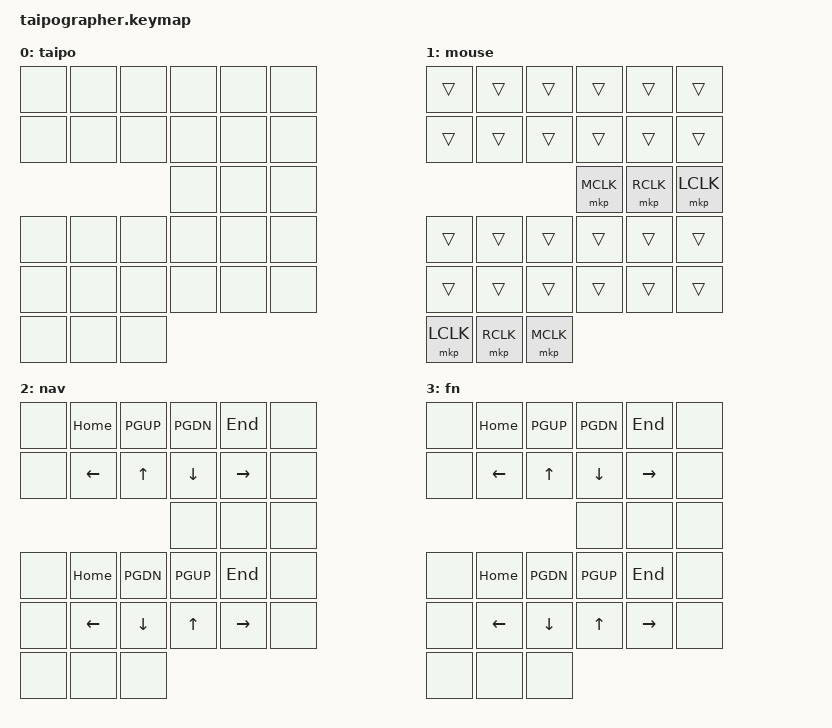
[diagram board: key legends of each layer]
#include <behaviors.dtsi>
#include <dt-bindings/zmk/keys.h>
#include <dt-bindings/zmk/bt.h>
#include "taipographer.h"

#define ZMK_POINTING_DEFAULT_MOVE_VAL 1200
#define ZMK_POINTING_DEFAULT_SCRL_VAL 20
#include <dt-bindings/zmk/pointing.h>

// CONFIG
#define DEFAULT_LAYER LINUX
#define COMBO_TIMEOUT TIMEOUT_SHORT
#define STICKY_TIMEOUT TIMEOUT_XLONG
#define TAPPING_TERM_MS TIMEOUT_LONG

#define MB_LCLK &mkp LCLK
#define MB_RCLK &mkp RCLK
#define MB_MCLK &mkp MCLK

/ {
  behaviors {
    // tog_on: toggle_on_layer {
    //   compatible = "zmk,behavior-toggle-layer";
    //   #binding-cells = <1>;
    //   display-name = "Toggle Layer On";
    //   toggle-mode = "on";
    // };
    // tog_off: toggle_off_layer {
    //   compatible = "zmk,behavior-toggle-layer";
    //   #binding-cells = <1>;
    //   display-name = "Toggle Layer Off";
    //   toggle-mode = "off";
    // };

    sm: sticky_mod {
      compatible = "zmk,behavior-hold-tap";
      #binding-cells = <2>;
      flavor = "hold-preferred";
      tapping-term-ms = <TAPPING_TERM_MS>;
      bindings = <&kp>, <&sk>;
      display-name = "Sticky-Mod";
    };
  };

  combos {
    compatible = "zmk,combos";
    #include "combos.dtsi"
  };

  keymap {
    compatible = "zmk,keymap";

    /* We define layers here, but they are all unassigned.
     * Instead, I choose to use combos for assigning keys.
     */
    taipo {
      display-name = "taipo";
      bindings = <
        &none      &none      &none      &none      &none      &none     
        &none      &none      &none      &none      &none      &none     
        /*                            */ &none      &none      &none     

        &none      &none      &none      &none      &none      &none     
        &none      &none      &none      &none      &none      &none     
        &none      &none      &none     
      >;
    };

    mouse {
      display-name = "mouse";
      bindings = <
        &trans     &trans     &trans     &trans     &trans     &trans    
        &trans     &trans     &trans     &trans     &trans     &trans    
        /*                            */ MB_MCLK    MB_RCLK    MB_LCLK   

        &trans     &trans     &trans     &trans     &trans     &trans    
        &trans     &trans     &trans     &trans     &trans     &trans    
        MB_LCLK    MB_RCLK    MB_MCLK   
      >;
    };

    navigation {
      display-name = "nav";
      bindings = <
        &none      &kp HOME   &kp PGUP   &kp PGDN   &kp END    &none     
        &none      &kp LEFT   &kp UP     &kp DOWN   &kp RIGHT  &none     
        /*                            */ &none      &none      &none     

        &none      &kp HOME   &kp PGDN   &kp PGUP   &kp END    &none     
        &none      &kp LEFT   &kp DOWN   &kp UP     &kp RIGHT  &none     
        &none      &none      &none     
      >;
    };

    function {
      display-name = "fn";
      bindings = <
        &none      &kp HOME   &kp PGUP   &kp PGDN   &kp END    &none     
        &none      &kp LEFT   &kp UP     &kp DOWN   &kp RIGHT  &none     
        /*                            */ &none      &none      &none     

        &none      &kp HOME   &kp PGDN   &kp PGUP   &kp END    &none     
        &none      &kp LEFT   &kp DOWN   &kp UP     &kp RIGHT  &none     
        &none      &none      &none     
      >;
    };
  };
};

&sk {
  release-after-ms = <STICKY_TIMEOUT>;
  lazy;
};
